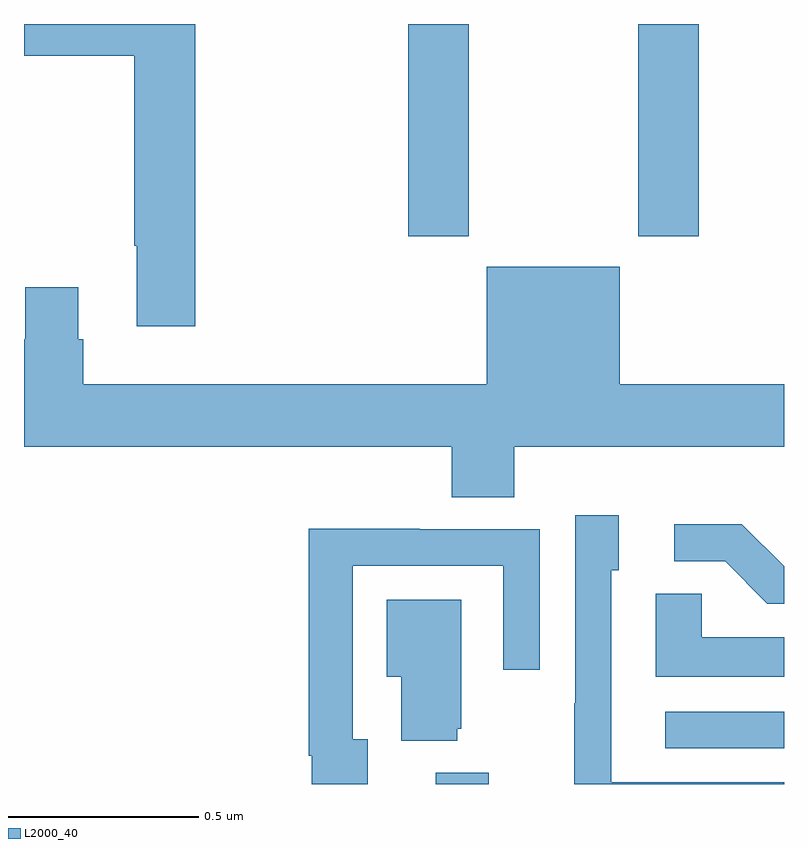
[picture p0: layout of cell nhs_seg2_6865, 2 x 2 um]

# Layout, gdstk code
import gdstk
lib = gdstk.Library(unit=1e-6, precision=1e-09)
def R(c, l, rs):  # rectangles x0, y0, x1, y1
    for r in rs: c.add(gdstk.rectangle(r[:2], r[2:], *l))
def P(c, l, *ps):  # polygons
    for p in ps: c.add(gdstk.Polygon(p, *l))
L2000_40 = (2000, 40)

nhs_seg2_6865 = lib.new_cell('nhs_seg2_6865')
R(nhs_seg2_6865, L2000_40, [(198.083,594.8,198.223,594.829), (198.687,594.894,199,594.99), (198.011,596.241,198.171,596.8), (198.616,596.241,198.776,596.8)])
P(nhs_seg2_6865, L2000_40, [(197.45,596.8),(197,596.8),(197,596.716),(197.29,596.716),(197.29,596.216),(197.297,596.216),(197.297,596.004),(197.45,596.004)],
  [(198.29,595.688),(199,595.688),(199,595.852),(198.568,595.852),(198.568,596.161),(198.218,596.161),(198.218,595.852),(197.156,595.852),(197.156,595.971),(197.143,595.971),(197.143,596.107),(197.003,596.107),(197.003,595.971),(197,595.971),(197,595.688),(198.125,595.688),(198.125,595.555),(198.29,595.555)],
  [(199,594.804),(198.546,594.804),(198.546,595.362),(198.565,595.362),(198.565,595.507),(198.45,595.507),(198.45,595.013),(198.448,595.013),(198.448,594.8),(199,594.8)],
  [(199,595.373),(198.889,595.484),(198.711,595.484),(198.711,595.386),(198.845,595.386),(198.956,595.275),(199,595.275)],
  [(197.905,594.918),(197.865,594.918),(197.865,595.374),(198.261,595.374),(198.261,595.101),(198.357,595.101),(198.357,595.47),(198.041,595.47),(198.041,595.472),(197.749,595.472),(197.749,594.874),(197.757,594.874),(197.757,594.8),(197.905,594.8)],
  [(199,595.186),(198.783,595.186),(198.783,595.301),(198.662,595.301),(198.662,595.082),(199,595.082)],
  [(198.14,594.945),(198.151,594.945),(198.151,595.285),(197.954,595.285),(197.954,595.082),(197.993,595.082),(197.993,594.914),(198.14,594.914)])

lib.write_gds('nhs_seg2_6865.gds')
